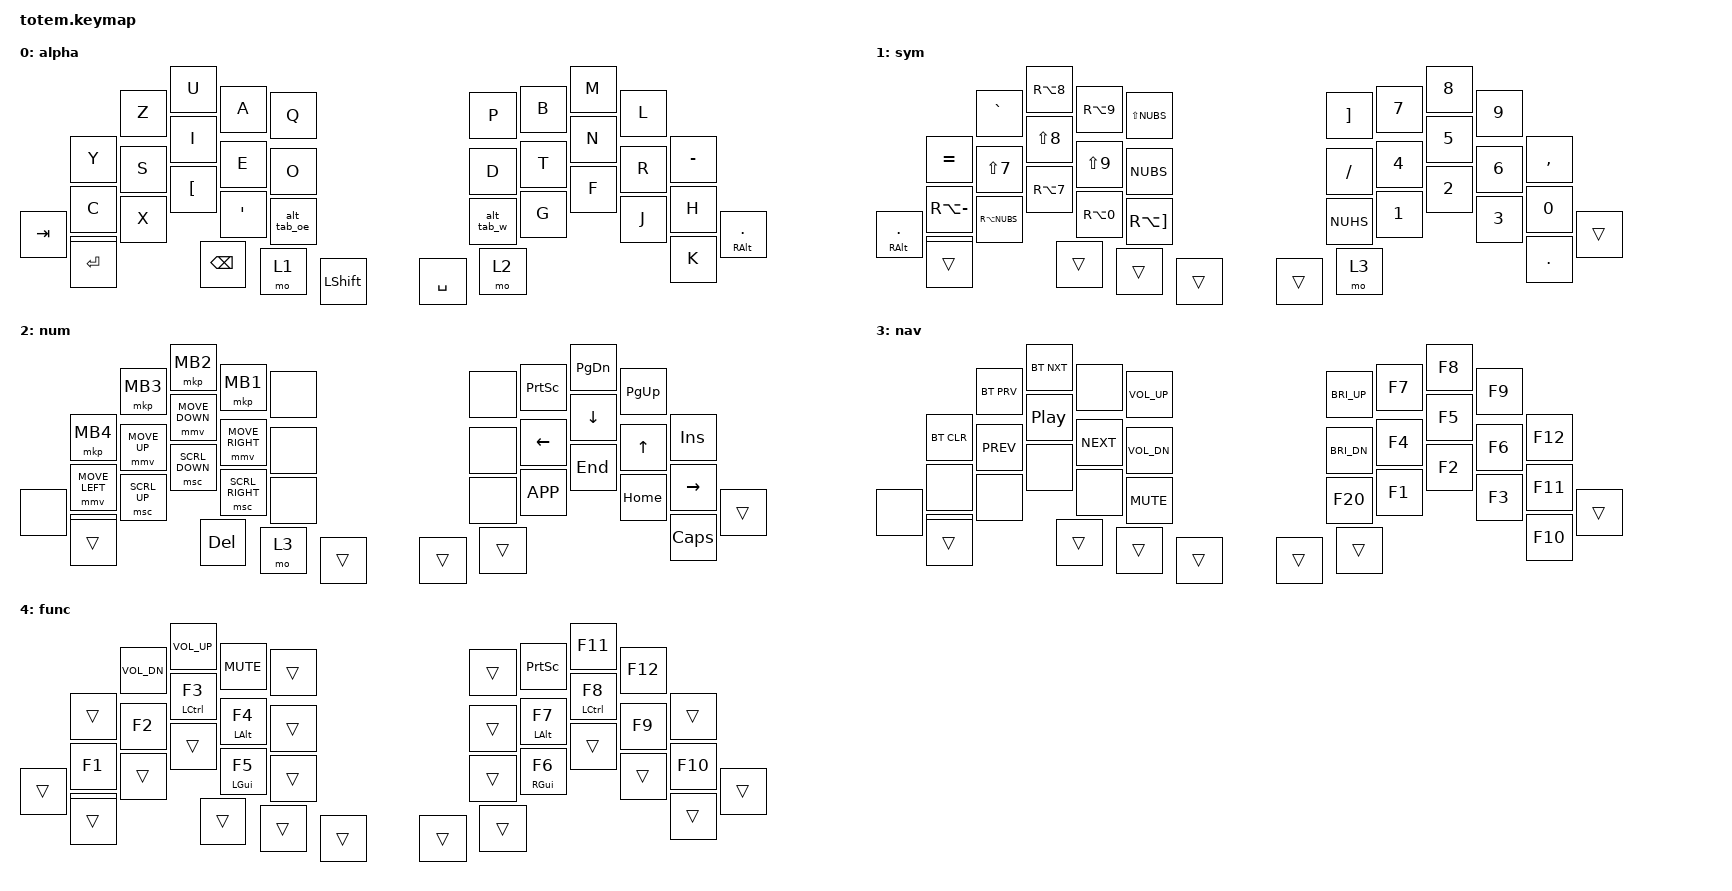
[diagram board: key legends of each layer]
#define ZMK_POINTING_DEFAULT_SCRL_VAL 400

#include <behaviors.dtsi>
#include <dt-bindings/zmk/keys.h>
#include <dt-bindings/zmk/pointing.h>
#include <dt-bindings/zmk/bt.h>

&mt { tapping-term-ms = <190>; };

&sk { quick-release; };

/ {
    combos {
        compatible = "zmk,combos";

        combo0 {
            timeout-ms = <40>;
            key-positions = <21 22 23 24>;
            bindings = <&kp LC(LALT)>;
        };

        combo1 {
            timeout-ms = <40>;
            key-positions = <27 28 29 30>;
            bindings = <&kp LC(LALT)>;
        };

        combo2 {
            timeout-ms = <40>;
            key-positions = <21 22 23>;
            bindings = <&kp LA(LGUI)>;
        };

        combo3 {
            timeout-ms = <40>;
            key-positions = <28 29 30>;
            bindings = <&kp LA(LGUI)>;
        };

        combo4 {
            timeout-ms = <40>;
            key-positions = <22 23 24>;
            bindings = <&kp LC(LGUI)>;
        };

        combo5 {
            timeout-ms = <40>;
            key-positions = <27 28 29>;
            bindings = <&kp LC(LGUI)>;
        };

        combo6 {
            timeout-ms = <40>;
            key-positions = <10 11 12 13>;
            bindings = <&kp LC(C)>;
        };

        combo7 {
            timeout-ms = <40>;
            key-positions = <16 17 18 19>;
            bindings = <&kp LC(C)>;
        };

        combo8 {
            timeout-ms = <40>;
            key-positions = <0 1 2 3>;
            bindings = <&kp ESC>;
        };

        combo9 {
            timeout-ms = <40>;
            key-positions = <6 7 8 9>;
            bindings = <&kp ESC>;
        };

        combo10 {
            timeout-ms = <40>;
            key-positions = <23 24 34>;
            bindings = <&kp LC(LSHIFT)>;
        };

        combo11 {
            timeout-ms = <40>;
            key-positions = <34 27 28>;
            bindings = <&kp LC(LSHIFT)>;
        };

        combo12 {
            timeout-ms = <40>;
            key-positions = <21 22>;
            bindings = <&kp LALT>;
        };

        combo13 {
            timeout-ms = <40>;
            key-positions = <29 30>;
            bindings = <&kp LALT>;
        };

        combo14 {
            timeout-ms = <40>;
            key-positions = <22 23>;
            bindings = <&kp LGUI>;
        };

        combo15 {
            timeout-ms = <40>;
            key-positions = <28 29>;
            bindings = <&kp LGUI>;
        };

        combo16 {
            timeout-ms = <40>;
            key-positions = <23 24>;
            bindings = <&kp LCTRL>;
        };

        combo17 {
            timeout-ms = <40>;
            key-positions = <27 28>;
            bindings = <&kp LCTRL>;
        };

        combo18 {
            timeout-ms = <40>;
            key-positions = <22 29>;
            bindings = <&kp TAB>;
        };

        combo19 {
            timeout-ms = <40>;
            key-positions = <21 30>;
            bindings = <&kp ESC>;
        };

        combo20 {
            timeout-ms = <40>;
            key-positions = <23 24>;
            bindings = <&kp LCTRL>;
            layers = <2>;
        };

        combo21 {
            timeout-ms = <40>;
            key-positions = <23 24>;
            bindings = <&kp LCTRL>;
            layers = <1>;
        };

        combo22 {
            timeout-ms = <40>;
            key-positions = <22 23 24>;
            bindings = <&kp LC(LGUI)>;
            layers = <2>;
        };

        combo23 {
            timeout-ms = <40>;
            key-positions = <21 22 23>;
            bindings = <&kp LA(LGUI)>;
            layers = <2>;
        };

        combo24 {
            timeout-ms = <40>;
            key-positions = <22 23>;
            bindings = <&kp LGUI>;
            layers = <2>;
        };

        combo25 {
            timeout-ms = <40>;
            key-positions = <21 22 23 24>;
            bindings = <&kp LC(LALT)>;
            layers = <2>;
        };

        combo27 {
            timeout-ms = <40>;
            key-positions = <22 23 24 34>;
            bindings = <&kp LC(LG(LSFT))>;
        };
        // sz {
        //     bindings = <&szR>;
        //     key-positions = <1 12>;
        //     timeout-ms = <28>;
        //     layers = <0>;
        // };
        //
        // ue {
        //     bindings = <&kp RA(Y)>;
        //     key-positions = <7 8>;
        //     timeout-ms = <28>;
        //     layers = <0>;
        // };
        //
        // oe {
        //     bindings = <&kp RA(P)>;
        //     key-positions = <8 17>;
        //     timeout-ms = <28>;
        //     layers = <0>;
        // };
        //
        // j {
        //     bindings = <&mt_double J J>;
        //     key-positions = <1 2>;
        //     timeout-ms = <28>;
        //     layers = <0>;
        // };
        //
        // z {
        //     bindings = <&mt_double Z Z>;
        //     key-positions = <2 3>;
        //     timeout-ms = <28>;
        //     layers = <0>;
        // };
        //
        // b {
        //     bindings = <&mt_double B B>;
        //     key-positions = <12 13>;
        //     timeout-ms = <28>;
        //     layers = <0>;
        // };
        //
        // k {
        //     bindings = <&mt_double K K>;
        //     key-positions = <23 24>;
        //     timeout-ms = <28>;
        //     layers = <0>;
        // };
        //
        // q {
        //     bindings = <&mt_double Q Q>;
        //     key-positions = <0 1>;
        //     layers = <0>;
        // };
        //
        // x {
        //     bindings = <&lt_hmr_l 4 X>;
        //     key-positions = <10 11>;
        //     timeout-ms = <28>;
        //     layers = <0>;
        // };
        //
        // ex {
        //     bindings = <&Ex>;
        //     key-positions = <16 17>;
        //     timeout-ms = <28>;
        //     layers = <0>;
        // };
        //
        // qu {
        //     bindings = <&Qu>;
        //     key-positions = <1 2 3>;
        //     timeout-ms = <28>;
        //     layers = <0>;
        // };
        //
        // ck {
        //     bindings = <&Ck>;
        //     key-positions = <11 12 13>;
        //     timeout-ms = <28>;
        //     layers = <0>;
        // };
        //
        // v {
        //     bindings = <&mt_double V V>;
        //     key-positions = <11 12>;
        //     timeout-ms = <28>;
        //     layers = <0>;
        // };
        //
        // apos {
        //     bindings = <&mt_double APOS APOS>;
        //     key-positions = <18 17>;
        //     timeout-ms = <28>;
        //     layers = <0>;
        // };
        //
        // func_r {
        //     bindings = <&mo 4>;
        //     key-positions = <18 19>;
        //     timeout-ms = <28>;
        //     layers = <0>;
        //     require-prior-idle-ms = <150>;
        // };
        //
        // ae {
        //     bindings = <&kp RA(Q)>;
        //     key-positions = <19 17>;
        //     timeout-ms = <28>;
        //     layers = <0>;
        // };
        //
        // rr {
        //     bindings = <&double R>;
        //     key-positions = <34 35>;
        //     timeout-ms = <45>;
        //     layers = <0>;
        // };
        //
        // rr2 {
        //     bindings = <&double R>;
        //     key-positions = <33 36>;
        //     timeout-ms = <45>;
        //     layers = <0>;
        // };
    };

    behaviors {
        mt_arrowfy: mt_arrowfy {
            compatible = "zmk,behavior-hold-tap";
            label = "MT_ARROW";
            bindings = <&arrowfy>, <&kp>;

            #binding-cells = <2>;
            tapping-term-ms = <190>;
            flavor = "tap-preferred";
        };

        ad_c: ad_c {
            compatible = "zmk,behavior-antecedent-morph";
            label = "ADAPTIVE_C";
            #binding-cells = <0>;
            defaults = <&kp C>;
            antecedents = <
                G      B      K      D      P      M
            >;

            bindings = <
                &kp S  &kp V  &kp S  &kp M  &kp H  &kp B
            >;

            max-delay-ms = <200>;
        };

        ad_g: ad_g {
            compatible = "zmk,behavior-antecedent-morph";
            label = "ADAPTIVE_G";
            #binding-cells = <0>;
            defaults = <&kp G>;
            antecedents = <
                B      T      Y
            >;

            bindings = <
                &kp J  &kp Z  &kp I
            >;

            max-delay-ms = <200>;
        };

        ad_f: ad_f {
            compatible = "zmk,behavior-antecedent-morph";
            label = "ADAPTIVE_F";
            #binding-cells = <0>;
            defaults = <&kp F>;
            antecedents = <
                D
            >;

            bindings = <
                &kp V
            >;

            max-delay-ms = <200>;
        };

        ad_h: ad_h {
            compatible = "zmk,behavior-antecedent-morph";
            label = "ADAPTIVE_H";
            #binding-cells = <0>;
            defaults = <&kp H>;
            antecedents = <
                R
            >;

            bindings = <
                &kp R
            >;

            max-delay-ms = <200>;
        };

        ad_w: ad_w {
            compatible = "zmk,behavior-antecedent-morph";
            label = "ADAPTIVE_W";
            #binding-cells = <0>;
            defaults = <&kp W>;
            antecedents = <
                D      U        N
            >;

            bindings = <
                &kp J  &kp SQT  &kp SQT
            >;

            max-delay-ms = <200>;
        };

        mt_hmr_l: mt_hmr_l {
            compatible = "zmk,behavior-hold-tap";
            label = "MT_HMR_L";
            bindings = <&kp>, <&kp>;

            #binding-cells = <2>;
            tapping-term-ms = <250>;
            flavor = "balanced";
            hold-trigger-key-positions = <15 5 6 7 17 16 26 27 28 29 18 8 9 19 30 31 32 33 34 36 37 35>;
            require-prior-idle-ms = <200>;
        };

        mt_hmr_r: mt_hmr_r {
            compatible = "zmk,behavior-hold-tap";
            label = "MT_HMR_R";
            bindings = <&kp>, <&kp>;

            #binding-cells = <2>;
            tapping-term-ms = <250>;
            flavor = "balanced";
            hold-trigger-key-positions = <20 21 10 0 1 11 22 23 12 2 3 24 13 4 14 25 32 33 34 36 37 35>;
            require-prior-idle-ms = <200>;
        };

        comma_gt: comma_gt {
            compatible = "zmk,behavior-mod-morph";
            label = "COMMA_GT";
            bindings = <&kp COMMA>, <&kp GT>;

            #binding-cells = <0>;
            mods = <(MOD_LSFT)>;
        };

        dot_lt: dot_lt {
            compatible = "zmk,behavior-mod-morph";
            label = "DOT_LT";
            bindings = <&kp DOT>, <&kp LT>;

            #binding-cells = <0>;
            mods = <(MOD_LSFT)>;
        };

        alt_tab_w: alt_tab_w {
            compatible = "zmk,behavior-mod-morph";
            label = "ALT_TAB_W";
            bindings = <&kp W>, <&kp TAB>;

            #binding-cells = <0>;
            mods = <(MOD_LALT|MOD_RALT)>;
            keep-mods = <(MOD_LALT|MOD_RALT)>;
        };

        alt_tab_oe: alt_tab_oe {
            compatible = "zmk,behavior-mod-morph";
            label = "ALT_TAB_OE";
            bindings = <&kp SEMI>, <&kp TAB>;

            #binding-cells = <0>;
            mods = <(MOD_LALT|MOD_RALT)>;
            keep-mods = <(MOD_LALT|MOD_RALT)>;
        };

        mt_hmr_comma_gt: mt_hmr_comma_gt {
            compatible = "zmk,behavior-hold-tap";
            label = "MT_HMR_COMMA_GT";
            bindings = <&kp>, <&comma_gt>;

            #binding-cells = <2>;
            tapping-term-ms = <250>;
            flavor = "balanced";
            hold-trigger-key-positions = <20 21 10 0 1 11 22 23 12 2 3 24 13 4 14 25 32 33 34 36 37 35>;
            require-prior-idle-ms = <200>;
        };

        lt_hmr_l: lt_hmr_l {
            compatible = "zmk,behavior-hold-tap";
            label = "LT_HMR_L";
            bindings = <&mo>, <&kp>;

            #binding-cells = <2>;
            tapping-term-ms = <250>;
            flavor = "balanced";
            hold-trigger-key-positions = <15 5 6 7 17 16 26 27 28 29 18 8 9 19 30 31 32 33 34 36 37 35>;
            require-prior-idle-ms = <30>;
        };

        lt_hmr_r: lt_hmr_r {
            compatible = "zmk,behavior-hold-tap";
            label = "LT_HMR_R";
            bindings = <&mo>, <&kp>;

            #binding-cells = <2>;
            tapping-term-ms = <250>;
            flavor = "balanced";
            hold-trigger-key-positions = <20 21 10 0 1 11 22 23 12 2 3 24 13 4 14 25 32 33 34 36 37 35>;
            require-prior-idle-ms = <30>;
        };

        low_u: low_u {
            compatible = "zmk,behavior-mod-morph";
            label = "LOW_U";
            bindings = <&kp U>, <&kp U>;

            #binding-cells = <0>;
            mods = <(MOD_LSFT)>;
        };

        low_x: low_x {
            compatible = "zmk,behavior-mod-morph";
            label = "LOW_X";
            bindings = <&kp X>, <&kp X>;

            #binding-cells = <0>;
            mods = <(MOD_LSFT)>;
        };

        lt_hmr_l_ad_c: lt_hmr_l_ad_c {
            compatible = "zmk,behavior-hold-tap";
            label = "LT_HMR_L_AD_C";
            bindings = <&mo>, <&ad_c>;

            #binding-cells = <2>;
            tapping-term-ms = <250>;
            flavor = "balanced";
            hold-trigger-key-positions = <15 5 6 7 17 16 26 27 28 29 18 8 9 19 30 31 32 33 34 36 37 35>;
            require-prior-idle-ms = <30>;
        };

        mt_thumb: mt_thumb {
            compatible = "zmk,behavior-hold-tap";
            label = "MT_THUMB";
            bindings = <&singleSk>, <&kp>;

            #binding-cells = <2>;
            tapping-term-ms = <140>;
            flavor = "balanced";
        };

        szR: szR {
            compatible = "zmk,behavior-mod-morph";
            label = "SZR";
            bindings = <&kp RA(S)>, <&kp LS(R)>;

            #binding-cells = <0>;
            mods = <(MOD_LSFT)>;
        };

        mt_append: mt_append {
            compatible = "zmk,behavior-hold-tap";
            label = "MT_APPEND";
            bindings = <&append>, <&kp>;

            #binding-cells = <2>;
            tapping-term-ms = <190>;
            flavor = "tap-preferred";
        };

        mt_double: mt_double {
            compatible = "zmk,behavior-hold-tap";
            label = "MT_DOUBLE";
            bindings = <&double>, <&kp>;

            #binding-cells = <2>;
            tapping-term-ms = <150>;
            flavor = "tap-preferred";
        };

        mt_dot_lt_ellipsis: mt_dot_lt_ellipsis {
            compatible = "zmk,behavior-hold-tap";
            label = "MT_DOT_LT_ELLIPSIS";
            bindings = <&ellipsis>, <&dot_lt>;

            #binding-cells = <2>;
            tapping-term-ms = <150>;
            flavor = "tap-preferred";
        };

        mt_hrm_l_ad_h: mt_hrm_l_ad_h {
            compatible = "zmk,behavior-hold-tap";
            label = "MT_HRM_L_AD_H";
            bindings = <&kp>, <&ad_h>;

            #binding-cells = <2>;
            tapping-term-ms = <250>;
            flavor = "balanced";
            hold-trigger-key-positions = <15 5 6 7 17 16 26 27 28 29 18 8 9 19 30 31 32 33 34 36 37 35>;
            require-prior-idle-ms = <30>;
        };
    };

    macros {
        arrowfy: arrowfy {
            compatible = "zmk,behavior-macro-one-param";
            #binding-cells = <1>;
            bindings = <&macro_param_1to1 &kp MACRO_PLACEHOLDER &kp GT>;
            label = "ARROWFY";
            wait-ms = <30>;
            tap-ms = <30>;
        };

        Ex: Ex {
            compatible = "zmk,behavior-macro";
            #binding-cells = <0>;
            bindings = <&kp E &low_x>;
            label = "EX";
        };

        Qu: Qu {
            compatible = "zmk,behavior-macro";
            #binding-cells = <0>;
            bindings = <&kp Q &low_u>;
            label = "QU";
        };

        Ck: ck {
            compatible = "zmk,behavior-macro";
            #binding-cells = <0>;
            bindings = <&kp C &kp K>;
            label = "CK";
        };

        append: end_append {
            compatible = "zmk,behavior-macro-one-param";
            #binding-cells = <1>;
            bindings = <&kp END &macro_param_1to1 &kp MACRO_PLACEHOLDER>;
            label = "END_APPEND";
        };

        double: double {
            compatible = "zmk,behavior-macro-one-param";
            #binding-cells = <1>;
            bindings = <&macro_param_1to1 &kp MACRO_PLACEHOLDER &macro_param_1to1 &kp MACRO_PLACEHOLDER>;
            label = "DOUBLE";
        };

        ellipsis: ellipsis {
            compatible = "zmk,behavior-macro";
            #binding-cells = <0>;
            bindings = <&kp DOT &kp DOT &kp DOT>;
            label = "ELLIPSIS";
        };

        singleSk: singleSk {
            compatible = "zmk,behavior-macro-one-param";
            #binding-cells = <1>;
            bindings = <&macro_param_1to1 &sk MACRO_PLACEHOLDER>;
            label = "SINGLESK";
        };
    };

    keymap {
        compatible = "zmk,keymap";

        alpha {
bindings = <
    &kp Y  &kp Z  &kp U  &kp A  &kp Q     &kp P  &kp B  &kp M  &kp L  &kp MINUS
    &kp C  &kp S  &kp I  &kp E  &kp O     &kp D  &kp T  &kp N  &kp R  &kp H
    &kp TAB &kp V &kp X &kp LBKT &kp APOS &alt_tab_oe     &alt_tab_w &kp G &kp F &kp J &kp K &mt RALT DOT
                     &kp BSPC &mo 1 &kp LSHIFT &kp SPACE &mo 2 &kp ENTER
>;
         };

        sym {
bindings = <
    &kp EQUAL &kp GRAVE &kp RA(N8) &kp RA(N9) &kp LS(NUBS)   &kp RBKT &kp N7 &kp N8 &kp N9 &kp COMMA
    &kp RA(MINUS) &kp LS(N7) &kp LS(N8) &kp LS(N9) &kp NUBS   &kp FSLH &kp N4 &kp N5 &kp N6 &kp N0
    &mt RALT DOT &kp RA(Q) &kp RA(NUBS) &kp RA(N7) &kp RA(N0) &kp RA(RBKT)           &kp NUHS &kp N1 &kp N2 &kp N3 &kp DOT &trans
                     &trans &trans &trans &trans &mo 3 &trans
>;
        };

        num {
bindings = <
    &mkp MB4 &mkp MB3 &mkp MB2 &mkp MB1 &none   &none &kp PSCRN &kp PG_DN &kp PG_UP &kp INSERT
    &mmv MOVE_LEFT &mmv MOVE_UP &mmv MOVE_DOWN &mmv MOVE_RIGHT &none   &none &kp LEFT &kp DOWN &kp UP &kp RIGHT
    &none &msc SCRL_LEFT &msc SCRL_UP &msc SCRL_DOWN &msc SCRL_RIGHT &none   &none &kp K_APP &kp END &kp HOME &kp CAPS &trans
                     &kp DELETE &mo 3 &trans &trans &trans &trans
>;
         };

        nav {
bindings = <
    &bt BT_CLR &bt BT_PRV &bt BT_NXT &none &kp C_VOL_UP   &kp C_BRI_UP &kp F7 &kp F8 &kp F9 &kp F12
    &none &kp C_PREV &kp C_PLAY_PAUSE &kp C_NEXT &kp C_VOL_DN   &kp C_BRI_DN &kp F4 &kp F5 &kp F6 &kp F11
    &none &none &none &none &none &kp C_MUTE   &kp F20 &kp F1 &kp F2 &kp F3 &kp F10 &trans
                     &trans &trans &trans &trans &trans &trans
>;
         };
    func {
            bindings = <
        &trans  &kp C_VOL_DN  &kp C_VOL_UP         &kp C_MUTE       &trans    &trans  &kp PSCRN        &kp F11       &kp F12  &trans
        &kp F1  &kp F2        &mt LEFT_CONTROL F3  &mt LEFT_ALT F4  &trans    &trans  &mt LEFT_ALT F7  &mt LCTRL F8  &kp F9   &kp F10
&trans  &trans  &trans        &trans               &mt LGUI F5      &trans    &trans  &mt RGUI F6      &trans        &trans   &trans   &trans
                              &trans               &trans           &trans    &trans  &trans           &trans
            >;
        };

            };

    conditional_layers { compatible = "zmk,conditional-layers"; };
};
